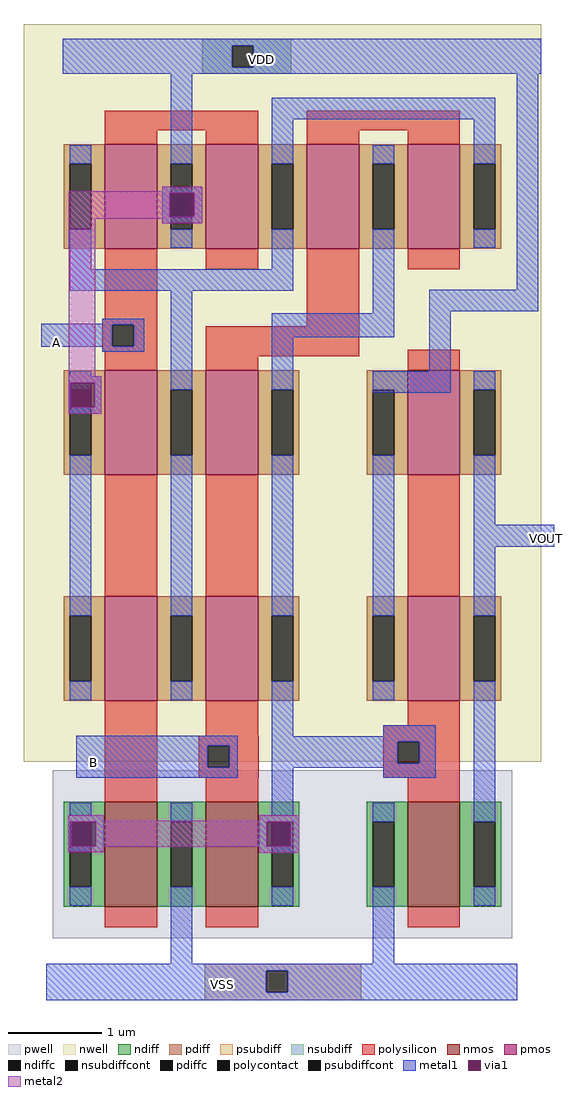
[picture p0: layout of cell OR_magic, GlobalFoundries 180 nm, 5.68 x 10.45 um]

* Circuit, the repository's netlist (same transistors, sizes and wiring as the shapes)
* NGSPICE file created from OR_magic.ext - technology: gf180mcuD

.subckt pmos_3p3_V9Y6F7 w_n230_n242# a_56_n112# a_n56_n156# a_n144_n112#
X0 a_56_n112# a_n56_n156# a_n144_n112# w_n230_n242# pfet_03v3 ad=0.4928p pd=3.12u as=0.4928p ps=3.12u w=1.12u l=0.56u
.ends

.subckt pmos_3p3_VZX6F7 a_164_n112# a_n164_n156# a_n252_n112# a_52_n156# w_n338_n242#
+ a_n52_n112#
X0 a_164_n112# a_52_n156# a_n52_n112# w_n338_n242# pfet_03v3 ad=0.4928p pd=3.12u as=0.2912p ps=1.64u w=1.12u l=0.56u
X1 a_n52_n112# a_n164_n156# a_n252_n112# w_n338_n242# pfet_03v3 ad=0.2912p pd=1.64u as=0.4928p ps=3.12u w=1.12u l=0.56u
.ends

.subckt nmos_3p3_A2UGVV a_56_n112# a_n56_n156# a_n144_n112# VSUBS
X0 a_56_n112# a_n56_n156# a_n144_n112# VSUBS nfet_03v3 ad=0.4928p pd=3.12u as=0.4928p ps=3.12u w=1.12u l=0.56u
.ends

.subckt OR_magic A B VOUT VDD VSS
Xpmos_3p3_V9Y6F7_0 VDD VOUT a_822_n570# VDD pmos_3p3_V9Y6F7
Xpmos_3p3_V9Y6F7_4 VDD a_822_n570# B m1_99_40# pmos_3p3_V9Y6F7
Xpmos_3p3_VZX6F7_0 m1_99_40# B m1_99_40# B VDD a_822_n570# pmos_3p3_VZX6F7
Xpmos_3p3_V9Y6F7_5 VDD m1_99_40# A VDD pmos_3p3_V9Y6F7
Xpmos_3p3_VZX6F7_1 m1_99_40# A m1_99_40# A VDD VDD pmos_3p3_VZX6F7
Xpmos_3p3_V9Y6F7_6 VDD VOUT a_822_n570# VDD pmos_3p3_V9Y6F7
Xpmos_3p3_V9Y6F7_7 VDD a_822_n570# B m1_99_40# pmos_3p3_V9Y6F7
Xpmos_3p3_V9Y6F7_8 VDD m1_99_40# A VDD pmos_3p3_V9Y6F7
Xnmos_3p3_A2UGVV_0 a_822_n570# B VSS VSS nmos_3p3_A2UGVV
Xnmos_3p3_A2UGVV_1 VOUT a_822_n570# VSS VSS nmos_3p3_A2UGVV
Xnmos_3p3_A2UGVV_2 VSS A a_822_n570# VSS nmos_3p3_A2UGVV
.ends

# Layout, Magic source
magic
tech gf180mcuD
magscale 1 10
<< nwell >>
rect 0 466 1108 611
rect 297 185 382 263
<< pwell >>
rect 614 -1346 710 -986
<< pdiff >>
rect 297 185 382 263
<< psubdiff >>
rect 388 -1415 723 -1400
rect 388 -1461 519 -1415
rect 565 -1461 723 -1415
rect 388 -1478 723 -1461
<< nsubdiff >>
rect 382 564 573 579
rect 382 518 446 564
rect 492 518 573 564
rect 382 504 573 518
<< psubdiffcont >>
rect 519 -1461 565 -1415
<< nsubdiffcont >>
rect 446 518 492 564
<< polysilicon >>
rect 174 384 502 425
rect 606 384 934 425
rect 174 -20 286 126
rect 168 -33 286 -20
rect 168 -79 190 -33
rect 236 -79 286 -33
rect 606 -36 718 115
rect 168 -90 286 -79
rect 168 -91 177 -90
rect 390 -100 718 -36
rect 174 -570 286 -354
rect 390 -572 502 -391
rect 822 -570 934 -389
rect 174 -1010 286 -864
rect 390 -912 502 -838
rect 822 -890 934 -881
rect 375 -934 503 -912
rect 375 -980 394 -934
rect 440 -980 503 -934
rect 375 -1002 503 -980
rect 770 -925 934 -890
rect 770 -971 801 -925
rect 847 -971 934 -925
rect 770 -1002 934 -971
rect 390 -1023 502 -1002
rect 822 -1010 934 -1002
<< polycontact >>
rect 190 -79 236 -33
rect 394 -980 440 -934
rect 801 -971 847 -925
<< metal1 >>
rect 84 564 1108 579
rect 84 518 446 564
rect 492 518 1108 564
rect 84 504 1108 518
rect 315 341 361 504
rect 531 407 1009 453
rect 531 341 577 407
rect 963 341 1009 407
rect 297 250 382 263
rect 297 198 313 250
rect 365 198 382 250
rect 297 185 382 198
rect 99 86 145 154
rect 531 86 577 146
rect 99 40 577 86
rect 168 -31 258 -20
rect 38 -33 258 -31
rect 38 -79 190 -33
rect 236 -79 258 -33
rect 38 -80 258 -79
rect 168 -91 258 -80
rect 97 -157 166 -143
rect 315 -152 361 40
rect 747 -8 793 145
rect 1055 42 1101 504
rect 531 -60 793 -8
rect 868 -4 1101 42
rect 531 -143 577 -60
rect 868 -132 914 -4
rect 97 -209 100 -157
rect 152 -209 166 -157
rect 747 -178 914 -132
rect 97 -223 166 -209
rect 99 -628 145 -337
rect 315 -628 361 -337
rect 531 -629 577 -338
rect 747 -627 793 -337
rect 963 -461 1009 -337
rect 963 -508 1136 -461
rect 963 -627 1009 -508
rect 113 -934 458 -912
rect 113 -980 394 -934
rect 440 -980 458 -934
rect 113 -1002 458 -980
rect 531 -914 577 -825
rect 770 -914 882 -890
rect 531 -925 882 -914
rect 531 -971 801 -925
rect 847 -971 882 -925
rect 531 -981 882 -971
rect 531 -1083 577 -981
rect 770 -1002 882 -981
rect 963 -1070 1009 -818
rect 95 -1097 171 -1083
rect 95 -1149 102 -1097
rect 154 -1149 171 -1097
rect 95 -1162 171 -1149
rect 504 -1097 590 -1083
rect 504 -1149 520 -1097
rect 572 -1149 590 -1097
rect 504 -1163 590 -1149
rect 315 -1400 361 -1264
rect 747 -1400 793 -1240
rect 48 -1415 1057 -1400
rect 48 -1461 519 -1415
rect 565 -1461 1057 -1415
rect 48 -1478 1057 -1461
<< via1 >>
rect 313 198 365 250
rect 100 -209 152 -157
rect 102 -1149 154 -1097
rect 520 -1149 572 -1097
<< metal2 >>
rect 297 253 382 263
rect 97 250 382 253
rect 97 198 313 250
rect 365 198 382 250
rect 97 194 382 198
rect 97 -143 153 194
rect 297 185 382 194
rect 97 -157 166 -143
rect 97 -209 100 -157
rect 152 -209 166 -157
rect 97 -223 166 -209
rect 95 -1094 171 -1083
rect 504 -1094 590 -1083
rect 95 -1097 590 -1094
rect 95 -1149 102 -1097
rect 154 -1149 520 -1097
rect 572 -1149 590 -1097
rect 95 -1150 590 -1149
rect 95 -1162 171 -1150
rect 504 -1163 590 -1150
use nmos_3p3_A2UGVV  nmos_3p3_A2UGVV_0
transform 1 0 446 0 1 -1166
box -168 -180 168 180
use nmos_3p3_A2UGVV  nmos_3p3_A2UGVV_1
transform 1 0 878 0 1 -1166
box -168 -180 168 180
use nmos_3p3_A2UGVV  nmos_3p3_A2UGVV_2
transform 1 0 230 0 1 -1166
box -168 -180 168 180
use pmos_3p3_V9Y6F7  pmos_3p3_V9Y6F7_0
transform 1 0 878 0 1 -242
box -230 -242 230 242
use pmos_3p3_V9Y6F7  pmos_3p3_V9Y6F7_4
transform 1 0 446 0 1 -242
box -230 -242 230 242
use pmos_3p3_V9Y6F7  pmos_3p3_V9Y6F7_5
transform 1 0 230 0 1 -242
box -230 -242 230 242
use pmos_3p3_V9Y6F7  pmos_3p3_V9Y6F7_6
transform 1 0 878 0 1 -726
box -230 -242 230 242
use pmos_3p3_V9Y6F7  pmos_3p3_V9Y6F7_7
transform 1 0 446 0 1 -726
box -230 -242 230 242
use pmos_3p3_V9Y6F7  pmos_3p3_V9Y6F7_8
transform 1 0 230 0 1 -726
box -230 -242 230 242
use pmos_3p3_VZX6F7  pmos_3p3_VZX6F7_0
transform 1 0 770 0 1 242
box -338 -242 338 242
use pmos_3p3_VZX6F7  pmos_3p3_VZX6F7_1
transform 1 0 338 0 1 242
box -338 -242 338 242
<< labels >>
flabel metal1 s 70 -70 70 -70 0 FreeSans 750 0 0 0 A
port 1 nsew
flabel metal1 s 150 -970 150 -970 0 FreeSans 750 0 0 0 B
port 2 nsew
flabel metal1 s 1120 -490 1120 -490 0 FreeSans 750 0 0 0 VOUT
port 3 nsew
rlabel metal1 460 520 560 550 0 VDD
port 4 nsew
rlabel metal1 380 -1460 470 -1430 0 VSS
port 5 nsew
<< end >>

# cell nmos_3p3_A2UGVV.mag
magic
tech gf180mcuD
magscale 1 10
<< pwell >>
rect -168 -180 168 180
<< nmos >>
rect -56 -112 56 112
<< ndiff >>
rect -144 70 -56 112
rect -144 -70 -131 70
rect -85 -70 -56 70
rect -144 -112 -56 -70
rect 56 70 144 112
rect 56 -70 85 70
rect 131 -70 144 70
rect 56 -112 144 -70
<< ndiffc >>
rect -131 -70 -85 70
rect 85 -70 131 70
<< polysilicon >>
rect -56 112 56 156
rect -56 -156 56 -112
<< metal1 >>
rect -131 70 -85 110
rect -131 -110 -85 -70
rect 85 70 131 110
rect 85 -110 131 -70
<< end >>

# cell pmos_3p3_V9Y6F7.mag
magic
tech gf180mcuD
magscale 1 10
<< nwell >>
rect -230 -242 230 242
<< pmos >>
rect -56 -112 56 112
<< pdiff >>
rect -144 70 -56 112
rect -144 -70 -131 70
rect -85 -70 -56 70
rect -144 -112 -56 -70
rect 56 70 144 112
rect 56 -70 85 70
rect 131 -70 144 70
rect 56 -112 144 -70
<< pdiffc >>
rect -131 -70 -85 70
rect 85 -70 131 70
<< polysilicon >>
rect -56 112 56 156
rect -56 -156 56 -112
<< metal1 >>
rect -131 70 -85 110
rect -131 -110 -85 -70
rect 85 70 131 110
rect 85 -110 131 -70
<< end >>

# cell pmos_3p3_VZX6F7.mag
magic
tech gf180mcuD
magscale 1 10
<< nwell >>
rect -338 -242 338 242
<< pmos >>
rect -164 -112 -52 112
rect 52 -112 164 112
<< pdiff >>
rect -252 70 -164 112
rect -252 -70 -239 70
rect -193 -70 -164 70
rect -252 -112 -164 -70
rect -52 70 52 112
rect -52 -70 -23 70
rect 23 -70 52 70
rect -52 -112 52 -70
rect 164 70 252 112
rect 164 -70 193 70
rect 239 -70 252 70
rect 164 -112 252 -70
<< pdiffc >>
rect -239 -70 -193 70
rect -23 -70 23 70
rect 193 -70 239 70
<< polysilicon >>
rect -164 112 -52 156
rect 52 112 164 156
rect -164 -156 -52 -112
rect 52 -156 164 -112
<< metal1 >>
rect -239 70 -193 110
rect -239 -110 -193 -70
rect -23 70 23 110
rect -23 -110 23 -70
rect 193 70 239 110
rect 193 -110 239 -70
<< end >>
